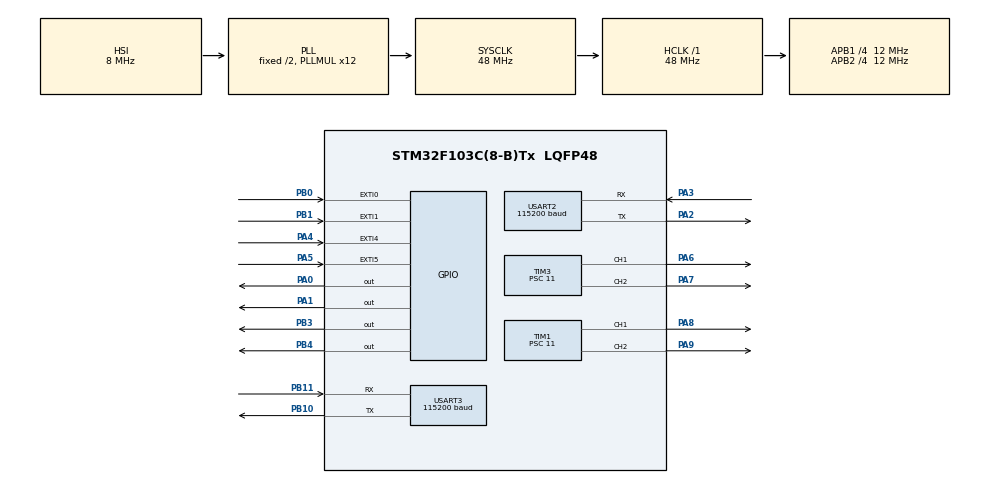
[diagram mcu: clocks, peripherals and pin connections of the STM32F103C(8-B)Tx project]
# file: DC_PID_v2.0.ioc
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Mcu.Family=STM32F1
Mcu.Name=STM32F103C(8-B)Tx
Mcu.Package=LQFP48
NVIC.EXTI0_IRQn=true\:0\:0\:false\:false\:true\:true\:true\:true
NVIC.EXTI1_IRQn=true\:0\:0\:false\:false\:true\:true\:true\:true
NVIC.EXTI4_IRQn=true\:0\:0\:false\:false\:true\:true\:true\:true
NVIC.EXTI9_5_IRQn=true\:0\:0\:false\:false\:true\:true\:true\:true
NVIC.PriorityGroup=NVIC_PRIORITYGROUP_4
NVIC.TIM2_IRQn=true\:0\:0\:false\:false\:true\:true\:true\:true
NVIC.TIM4_IRQn=true\:0\:0\:false\:false\:true\:true\:true\:true
NVIC.USART2_IRQn=true\:0\:0\:false\:false\:true\:true\:true\:true
NVIC.USART3_IRQn=true\:0\:0\:false\:false\:true\:true\:true\:true
PA0-WKUP.Signal=GPIO_Output
PA1.Signal=GPIO_Output
PA13.Mode=Serial_Wire
PA13.Signal=SYS_JTMS-SWDIO
PA14.Mode=Serial_Wire
PA14.Signal=SYS_JTCK-SWCLK
PA2.Mode=Asynchronous
PA2.Signal=USART2_TX
PA3.Mode=Asynchronous
PA3.Signal=USART2_RX
PA4.GPIO_ModeDefaultEXTI=GPIO_MODE_IT_RISING_FALLING
PA4.GPIO_PuPd=GPIO_PULLUP
PA4.Signal=GPXTI4
PA5.GPIO_ModeDefaultEXTI=GPIO_MODE_IT_RISING_FALLING
PA5.GPIO_PuPd=GPIO_PULLUP
PA5.Signal=GPXTI5
PA6.Signal=S_TIM3_CH1
PA7.Signal=S_TIM3_CH2
PA8.Signal=S_TIM1_CH1
PA9.Signal=S_TIM1_CH2
PB0.GPIO_ModeDefaultEXTI=GPIO_MODE_IT_RISING_FALLING
PB0.GPIO_PuPd=GPIO_PULLUP
PB0.Signal=GPXTI0
PB1.GPIO_ModeDefaultEXTI=GPIO_MODE_IT_RISING_FALLING
PB1.GPIO_PuPd=GPIO_PULLUP
PB1.Signal=GPXTI1
PB10.Mode=Asynchronous
PB10.Signal=USART3_TX
PB11.Mode=Asynchronous
PB11.Signal=USART3_RX
PB3.GPIO_PuPd=GPIO_NOPULL
PB3.Signal=GPIO_Output
PB4.Signal=GPIO_Output
PD0-OSC_IN.Mode=HSE-External-Oscillator
PD0-OSC_IN.Signal=RCC_OSC_IN
PD1-OSC_OUT.Mode=HSE-External-Oscillator
PD1-OSC_OUT.Signal=RCC_OSC_OUT
ProjectManager.HeapSize=0x200
ProjectManager.StackSize=0x400
ProjectManager.TargetToolchain=MDK-ARM V5.32
RCC.AHBFreq_Value=48000000
RCC.APB1CLKDivider=RCC_HCLK_DIV4
RCC.APB1Freq_Value=12000000
RCC.APB1TimFreq_Value=24000000
RCC.APB2CLKDivider=RCC_HCLK_DIV4
RCC.APB2Freq_Value=12000000
RCC.APB2TimFreq_Value=24000000
RCC.HCLKFreq_Value=48000000
RCC.PLLMUL=RCC_PLL_MUL12
RCC.SYSCLKFreq_VALUE=48000000
RCC.SYSCLKSource=RCC_SYSCLKSOURCE_PLLCLK
RCC.USBFreq_Value=48000000
SH.S_TIM1_CH1.0=TIM1_CH1,PWM Generation1 CH1
SH.S_TIM1_CH2.0=TIM1_CH2,PWM Generation2 CH2
SH.S_TIM3_CH1.0=TIM3_CH1,PWM Generation1 CH1
SH.S_TIM3_CH2.0=TIM3_CH2,PWM Generation2 CH2
TIM1.Channel-PWM\ Generation1\ CH1=TIM_CHANNEL_1
TIM1.Channel-PWM\ Generation2\ CH2=TIM_CHANNEL_2
TIM1.Period=100
TIM1.Prescaler=11
TIM2.Period=9
TIM2.Prescaler=23999
TIM3.Channel-PWM\ Generation1\ CH1=TIM_CHANNEL_1
TIM3.Channel-PWM\ Generation2\ CH2=TIM_CHANNEL_2
TIM3.Period=100
TIM3.Prescaler=11
TIM4.Period=9
TIM4.Prescaler=23999
USART2.BaudRate=115200
USART2.Mode=MODE_TX
USART2.VirtualMode=VM_ASYNC
USART3.BaudRate=115200
USART3.Mode=MODE_RX
USART3.VirtualMode=VM_ASYNC
VP_TIM1_VS_ClockSourceINT.Mode=Internal
VP_TIM2_VS_ClockSourceINT.Mode=Internal
VP_TIM3_VS_ClockSourceINT.Mode=Internal
VP_TIM4_VS_ClockSourceINT.Mode=Internal
board=custom

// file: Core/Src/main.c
/* USER CODE BEGIN Header */
/**
  ******************************************************************************
  * @file           : main.c
  * @brief          : Main program body
  ******************************************************************************
  * @attention
  *
  * Copyright (c) 2025 STMicroelectronics.
  * All rights reserved.
  *
  * This software is licensed under terms that can be found in the LICENSE file
  * in the root directory of this software component.
  * If no LICENSE file comes with this software, it is provided AS-IS.
  *
  ******************************************************************************
  */
/* USER CODE END Header */
#include "main.h"

/* USER CODE BEGIN Includes */
#include "string.h"
#include "stdio.h"
#include "stdlib.h"
#include "stdbool.h"
/* USER CODE END Includes */

/* USER CODE BEGIN PM */
#define pi 3.1415
#define p2r pi/400
#define sampletime 0.01
#define alpha 0.95
#define RX_BUFFER_SIZE 100
/* USER CODE END PM */

TIM_HandleTypeDef htim1;
TIM_HandleTypeDef htim2;
TIM_HandleTypeDef htim3;
TIM_HandleTypeDef htim4;

UART_HandleTypeDef huart2;
UART_HandleTypeDef huart3;

/* USER CODE BEGIN PV */
int32_t PosCnt_R, PosCnt_L, Cnttmp_R, Cnttmp_L;
volatile int16_t CountValue_R=0,CountValue_L=0;
int16_t HILIM =100 ,LOLIM =-100;
volatile int16_t CntVel_R, CntVel_L;
uint8_t PreviousState_R, PreviousState_L;
int16_t pwm_R, pwm_L ;
bool run=true, dir_R, dir_L;
float CurPos=0,DesiredPos;
float CurVel_R ;
float CurVel_L ;
int16_t DesiredSpeed_R, DesiredSpeed_L ;

volatile int32_t TotalCntVel_R = 0;
volatile int32_t TotalCntVel_L = 0;
volatile uint16_t uart_send_counter = 0;
//char Rx_indx, Rx_Buffer[20],Rx_data[2];
char dataVelocity_R[100], dataVelocity_L[100];

float Kp_R=0.2,Kd_R=0,Ki_R=5, Kb_R=100;
float Kp_L=0.2,Kd_L=0,Ki_L=5, Kb_L=100;

uint8_t Rx_Buffer[RX_BUFFER_SIZE];
uint8_t Rx_data[1];
uint8_t Rx_indx = 0;
/* USER CODE END PV */

void SystemClock_Config(void);
static void MX_GPIO_Init(void);
static void MX_TIM1_Init(void);
static void MX_TIM2_Init(void);
static void MX_TIM3_Init(void);
static void MX_TIM4_Init(void);
static void MX_USART3_UART_Init(void);
static void MX_USART2_UART_Init(void);

/* USER CODE BEGIN 0 */
//#ifdef __GNUC__
//	#define PUTCHAR_PROTOTYPE int __io_putchar(int ch)
//#else
//	#define PUTCHAR_PROTOTYPE int fputc(int ch, FILE *f)
//	#define GETCHAR_PROTOTYPE int fgetc(FILE *f)
//#endif
//	PUTCHAR_PROTOTYPE
//	{
//		HAL_UART_Transmit(&huart2, (uint8_t*)&ch,1,100);
//		return ch;
//	}

/*
***********************************************************************
******** Truyen van toc bang uart ***********************
***********************************************************************
*/

void parse_rpm_command() {
    if (Rx_Buffer[0] == 'V' && Rx_Buffer[1] == ',') {
        char *token;
        char *rest;
        rest = (char *)Rx_Buffer + 2;
        static char *saveptr;

        token = strtok(rest, ",");
        if (token != NULL) {
            DesiredSpeed_R = atoi(token);
        }

        token = strtok(NULL, ",");
        if (token != NULL) {
            DesiredSpeed_L = atoi(token);
        }
    }
}

void HAL_UART_RxCpltCallback(UART_HandleTypeDef *huart)
	{
    if (huart->Instance == USART3) {
        if (Rx_indx < RX_BUFFER_SIZE - 1) {
            Rx_Buffer[Rx_indx++] = Rx_data[0];
            if (Rx_indx == 9) {
                Rx_Buffer[Rx_indx] = '\0';

                parse_rpm_command();

                Rx_indx = 0;
            }
        } else {
            Rx_indx = 0;
        }
        HAL_UART_Receive_IT(&huart3, Rx_data, 1);
    }
	}

void tx_print(char *str)
{
		HAL_UART_Transmit(&huart2, (uint8_t*) str, strlen(str), 100);
}

/*
***********************************************************************
******** Xu ly tin hieu encoder cua banh xe phai***********************
***********************************************************************
*/

/****************************
****doc encoder channel A****
****************************/

void EXTI9_5_IRQHandler(void)
{
  /* USER CODE BEGIN EXTI9_5_IRQn 0 */
unsigned char State0;
	State0 = (State0<<1) | HAL_GPIO_ReadPin(GPIOA, GPIO_PIN_4);
	State0 = (State0<<1) | HAL_GPIO_ReadPin(GPIOA, GPIO_PIN_5);
	State0 = State0&0x03;
	switch (State0) {
		case 0:
			if(PreviousState_R==1) { CntVel_R++; TotalCntVel_R++;}
			else { CntVel_R--; TotalCntVel_R--;}
		break;
		case 1:
			if(PreviousState_R==3) { CntVel_R++; TotalCntVel_R++;}
			else {CntVel_R--; TotalCntVel_R--;}
		break;
		case 2:
			if(PreviousState_R==0) { CntVel_R++; TotalCntVel_R++;}
			else { CntVel_R--; TotalCntVel_R--;}
		break;
		case 3:
			if(PreviousState_R==2) { CntVel_R++; TotalCntVel_R++;}
			else { CntVel_R--; TotalCntVel_R--;}
		break;
		}
	PreviousState_R = State0;
//	if (CountValue_R>=1600) {
//		CountValue_R = 0;
//		PosCnt_R++;
//	}
//	else if	(CountValue_R<=-1600) {
//		CountValue_R = 0;
//		PosCnt_R--;
//	}
  /* USER CODE END EXTI9_5_IRQn 0 */
  HAL_GPIO_EXTI_IRQHandler(GPIO_PIN_5);
  /* USER CODE BEGIN EXTI9_5_IRQn 1 */
}

/****************************
****doc encoder channel B****
****************************/

void EXTI4_IRQHandler(void)
{
  /* USER CODE BEGIN EXTI4_IRQn 0 */
unsigned char State1;
	State1 = (State1<<1) | HAL_GPIO_ReadPin(GPIOA, GPIO_PIN_4);
	State1 = (State1<<1) | HAL_GPIO_ReadPin(GPIOA, GPIO_PIN_5);
	State1 = State1&0x03;
	switch (State1) {
		case 0:
			if(PreviousState_R==1) { CntVel_R++; TotalCntVel_R++;}
			else { CntVel_R--; TotalCntVel_R--;}
		break;
		case 1:
			if(PreviousState_R==3) { CntVel_R++; TotalCntVel_R++;}
			else { CntVel_R--; TotalCntVel_R--;}
		break;
		case 2:
			if(PreviousState_R==0) { CntVel_R++; TotalCntVel_R++;}
			else { CntVel_R--; TotalCntVel_R--;}
		break;
		case 3:
			if(PreviousState_R==2) { CntVel_R++; TotalCntVel_R++;}
			else { CntVel_R--; TotalCntVel_R--;}
		break;
		}
	PreviousState_R = State1;

//	if (CountValue_R>=1600) {
//		CountValue_R = 0;
//		PosCnt_R++;
//	}
//	else if	(CountValue_R<=-1600) {
//		CountValue_R = 0;
//		PosCnt_R--;
//	}
  /* USER CODE END EXTI4_IRQn 0 */
  HAL_GPIO_EXTI_IRQHandler(GPIO_PIN_4);
  /* USER CODE BEGIN EXTI4_IRQn 1 */

  /* USER CODE END EXTI4_IRQn 1 */
}

/*
***********************************************************************
******** Xu ly tin hieu encoder cua banh xe trai***********************
***********************************************************************
*/

/****************************
****doc encoder channel A****
****************************/

void EXTI1_IRQHandler(void)
{
  /* USER CODE BEGIN EXTI1_IRQn 0 */
unsigned char State3;
	State3 = (State3<<1) | HAL_GPIO_ReadPin(GPIOB, GPIO_PIN_0);
	State3 = (State3<<1) | HAL_GPIO_ReadPin(GPIOB, GPIO_PIN_1);
	State3 = State3&0x03;
	switch (State3) {
		case 0:
			if(PreviousState_L==1) { CntVel_L++; TotalCntVel_L++;}
			else { CntVel_L--; TotalCntVel_L--;}
		break;
		case 1:
			if(PreviousState_L==3) { CntVel_L++; TotalCntVel_L++;}
			else { CntVel_L--; TotalCntVel_L--;}
		break;
		case 2:
			if(PreviousState_L==0) { CntVel_L++; TotalCntVel_L++;}
			else { CntVel_L--; TotalCntVel_L--;}
		break;
		case 3:
			if(PreviousState_L==2) { CntVel_L++; TotalCntVel_L++;}
			else { CntVel_L--; TotalCntVel_L--;}
		break;
		}
	PreviousState_L = State3;

//	if (CountValue_L>=1600) {
//		CountValue_L = 0;
//		PosCnt_L++;
//	}
//	else if	(CountValue_L<=-1600) {
//		CountValue_L = 0;
//		PosCnt_L--;
//	}
  /* USER CODE END EXTI1_IRQn 0 */
  HAL_GPIO_EXTI_IRQHandler(GPIO_PIN_1);
  /* USER CODE BEGIN EXTI1_IRQn 0 */
}

/****************************
****doc encoder channel B****
****************************/

void EXTI0_IRQHandler(void)
{
  /* USER CODE BEGIN EXTI0_IRQn 0 */
unsigned char State4;
	State4 = (State4<<1) | HAL_GPIO_ReadPin(GPIOB, GPIO_PIN_0);
	State4 = (State4<<1) | HAL_GPIO_ReadPin(GPIOB, GPIO_PIN_1);
	State4 = State4&0x03;
	switch (State4) {
		case 0:
			if(PreviousState_L==1) { CntVel_L++; TotalCntVel_L++;}
			else { CntVel_L--; TotalCntVel_L--;}
		break;
		case 1:
			if(PreviousState_L==3) { CntVel_L++; TotalCntVel_L++;}
			else { CntVel_L--; TotalCntVel_L--;}
		break;
		case 2:
			if(PreviousState_L==0) { CntVel_L++; TotalCntVel_L++;}
			else { CntVel_L--; TotalCntVel_L--;}
		break;
		case 3:
			if(PreviousState_L==2) { CntVel_L++; TotalCntVel_L++;}
			else { CntVel_L--; TotalCntVel_L--;}
		break;
		}
	PreviousState_L = State4;

//	if (CountValue_L>=1600) {
//		CountValue_L = 0;
//		PosCnt_L++;
//	}
//	else if	(CountValue_L<=-1600) {
//		CountValue_L = 0;
//		PosCnt_L--;
//	}
  /* USER CODE END EXTI0_IRQn 0 */
  HAL_GPIO_EXTI_IRQHandler(GPIO_PIN_0);
  /* USER CODE BEGIN EXTI0_IRQn 0 */

  /* USER CODE END EXTI0_IRQn 0 */
}

/*
***********************************************************************
****************** Bo dieu khien PID cho van toc **********************
***********************************************************************
*/

int PIDVel_R(float Desiredvalue, float Currentvalue){

	static float errp = 0, e_reset = 0 ;
	static float uip = 0, ud_f_p = 0 ;
	float err,up,ud,ui, ud_f ;
	int uout , uout_anti_windup ;

	err = Desiredvalue - Currentvalue ;

	up = Kp_R*err ;
	ud = Kd_R*(err-errp)/sampletime ;
	ud_f = (1-alpha) * ud_f_p + alpha * ud;
	ui = uip + Ki_R*err*sampletime + Kb_R * sampletime * e_reset ;

	errp = err ;
	uip = ui ;
	ud_f_p = ud_f;
	uout =(int)(up+ud_f+ui);

	if(uout>HILIM) uout_anti_windup = 100 ;
	else if (uout < LOLIM)(uout_anti_windup = -100);
	else uout_anti_windup = uout;
	e_reset = uout_anti_windup - uout;
	return uout_anti_windup ;

}

int PIDVel_L(float Desiredvalue, float Currentvalue){

	static float errp = 0, e_reset = 0 ;
	static float uip = 0, ud_f_p = 0 ;
	float err,up,ud,ui, ud_f ;
	int uout , uout_anti_windup ;

	err = Desiredvalue - Currentvalue ;

	up = Kp_L*err ;
	ud = Kd_L*(err-errp)/sampletime ;
	ud_f = (1-alpha) * ud_f_p + alpha * ud;
	ui = uip + Ki_L*err*sampletime + Kb_L * sampletime * e_reset ;

	errp = err ;
	uip = ui ;
	ud_f_p = ud_f;
	uout =(int)(up+ud_f+ui);

	if(uout>HILIM) uout_anti_windup = 100 ;
	else if (uout < LOLIM)(uout_anti_windup = -100);
	else uout_anti_windup = uout;
	e_reset = uout_anti_windup - uout;
	return uout_anti_windup ;

}

/*
***********************************************************************
************ Xu ly ngat TIM de tinh toan van toc **********************
***********************************************************************
*/

void HAL_TIM_PeriodElapsedCallback(TIM_HandleTypeDef *htim) {

	if(htim->Instance==TIM2)
	{
		uart_send_counter++;
		if (uart_send_counter >= 10) {
				uart_send_counter = 0;
				char buffer[50];
				sprintf(buffer, "L:%d, R:%d\n", TotalCntVel_L, TotalCntVel_R);
				HAL_UART_Transmit_IT(&huart2, (uint8_t*)buffer, strlen(buffer));
//				HAL_UART_Transmit(&huart2, (uint8_t*) buffer, strlen(buffer), 1000);
//				tx_print(buffer);
		}

		Cnttmp_R = CntVel_R;
		CntVel_R = 0;
		CurVel_R = 9.549279*Cnttmp_R*pi/8;

    pwm_R = PIDVel_R(DesiredSpeed_R, CurVel_R);

		if (pwm_R >0)
			dir_R = 1 ;
		else {
		pwm_R *=-1;
		dir_R = 0 ; }

		if (dir_R==1){
				__HAL_TIM_SetCompare(&htim1, TIM_CHANNEL_1, pwm_R);
				__HAL_TIM_SetCompare(&htim1, TIM_CHANNEL_2, 0);
		}
		else {
				__HAL_TIM_SetCompare(&htim1, TIM_CHANNEL_1, 0);
				__HAL_TIM_SetCompare(&htim1, TIM_CHANNEL_2, pwm_R);
		}

		Cnttmp_L = CntVel_L;
		CntVel_L = 0;
		CurVel_L = 9.549279*Cnttmp_L*pi/8;

    pwm_L = PIDVel_L(DesiredSpeed_L, CurVel_L);

		if (pwm_L >0)
			dir_L = 1 ;
		else {
		pwm_L *=-1;
		dir_L = 0 ; }

		if (dir_L==1){
				__HAL_TIM_SetCompare(&htim3, TIM_CHANNEL_1, pwm_L);
				__HAL_TIM_SetCompare(&htim3, TIM_CHANNEL_2, 0);
		}
		else {
				__HAL_TIM_SetCompare(&htim3, TIM_CHANNEL_1, 0);
				__HAL_TIM_SetCompare(&htim3, TIM_CHANNEL_2, pwm_L);
		}
	}
}

void send_UART_Data(UART_HandleTypeDef *huart, uint32_t time_ms, int64_t desired_vel, float actual_vel) {
    char buffer[100]; // B? d?m d? ch?a chu?i d? li?u
    int len;

    // Р?nh d?ng chu?i: "Time: xxx ms, Encoder: xxx, RPM: xxx.xx\r\n"
    len = sprintf(buffer, "%lu,%lld,%.2f\r\n",
                  time_ms, desired_vel, actual_vel);

    // G?i d? li?u qua UART
    HAL_UART_Transmit(huart, (uint8_t *)buffer, len, HAL_MAX_DELAY);
}
/* USER CODE END 0 */

int main(void)
{

  /* MCU Configuration--------------------------------------------------------*/

  /* Reset of all peripherals, Initializes the Flash interface and the Systick. */
  HAL_Init();

  /* Configure the system clock */
  SystemClock_Config();

  /* Initialize all configured peripherals */
  MX_GPIO_Init();
  MX_TIM1_Init();
  MX_TIM2_Init();
  MX_TIM3_Init();
  MX_TIM4_Init();
  MX_USART3_UART_Init();
  MX_USART2_UART_Init();
  /* USER CODE BEGIN 2 */
	HAL_UART_Receive_IT(&huart3, Rx_data, 1);
	HAL_TIM_PWM_Start(&htim1, TIM_CHANNEL_1);
	HAL_TIM_PWM_Start(&htim1, TIM_CHANNEL_2);
	HAL_TIM_Base_Start_IT(&htim2);
	HAL_GPIO_WritePin(GPIOA, GPIO_PIN_1, GPIO_PIN_SET);
	HAL_GPIO_WritePin(GPIOA, GPIO_PIN_0, GPIO_PIN_SET);

	HAL_TIM_PWM_Start(&htim3, TIM_CHANNEL_1);
	HAL_TIM_PWM_Start(&htim3, TIM_CHANNEL_2);
//	HAL_TIM_Base_Start_IT(&htim4);
	HAL_GPIO_WritePin(GPIOB, GPIO_PIN_4, GPIO_PIN_SET);
	HAL_GPIO_WritePin(GPIOB, GPIO_PIN_3, GPIO_PIN_SET);

//	__HAL_TIM_SetCompare(&htim3, TIM_CHANNEL_1, 0);
//	__HAL_TIM_SetCompare(&htim3, TIM_CHANNEL_2, 50);
//
//	__HAL_TIM_SetCompare(&htim1, TIM_CHANNEL_1, 0);
//	__HAL_TIM_SetCompare(&htim1, TIM_CHANNEL_2, 50);

//	HAL_UART_Receive_IT(&huart1,(uint8_t*)Rx_data,1);
//	HAL_UART_Receive_IT(&huart1, Rx_data, 1);

  /* USER CODE END 2 */

  /* Infinite loop */
  while (1)
  {

    /* USER CODE BEGIN 3 */
		static uint32_t time_ms = 0;
//		sprintf(dataVelocity_R,"%f\r\n",CurVel_R);
//		tx_print(dataVelocity_R);
//		sprintf(dataVelocity_L,"%f\r\n",CurVel_L);
//		tx_print(dataVelocity_L);
		HAL_Delay(100);
		send_UART_Data(&huart2, time_ms, DesiredSpeed_L, CurVel_L); // G?i d? li?u qua UART
    time_ms += 100; // Tang th?i gian
  }
  /* USER CODE END 3 */
}

void SystemClock_Config(void)
{
  RCC_OscInitTypeDef RCC_OscInitStruct = {0};
  RCC_ClkInitTypeDef RCC_ClkInitStruct = {0};

  /** Initializes the RCC Oscillators according to the specified parameters
  * in the RCC_OscInitTypeDef structure.
  */
  RCC_OscInitStruct.OscillatorType = RCC_OSCILLATORTYPE_HSI;
  RCC_OscInitStruct.HSIState = RCC_HSI_ON;
  RCC_OscInitStruct.HSICalibrationValue = RCC_HSICALIBRATION_DEFAULT;
  RCC_OscInitStruct.PLL.PLLState = RCC_PLL_ON;
  RCC_OscInitStruct.PLL.PLLSource = RCC_PLLSOURCE_HSI_DIV2;
  RCC_OscInitStruct.PLL.PLLMUL = RCC_PLL_MUL12;
  if (HAL_RCC_OscConfig(&RCC_OscInitStruct) != HAL_OK)
  {
    Error_Handler();
  }

  /** Initializes the CPU, AHB and APB buses clocks
  */
  RCC_ClkInitStruct.ClockType = RCC_CLOCKTYPE_HCLK|RCC_CLOCKTYPE_SYSCLK
                              |RCC_CLOCKTYPE_PCLK1|RCC_CLOCKTYPE_PCLK2;
  RCC_ClkInitStruct.SYSCLKSource = RCC_SYSCLKSOURCE_PLLCLK;
  RCC_ClkInitStruct.AHBCLKDivider = RCC_SYSCLK_DIV1;
  RCC_ClkInitStruct.APB1CLKDivider = RCC_HCLK_DIV4;
  RCC_ClkInitStruct.APB2CLKDivider = RCC_HCLK_DIV4;

  if (HAL_RCC_ClockConfig(&RCC_ClkInitStruct, FLASH_LATENCY_1) != HAL_OK)
  {
    Error_Handler();
  }
}

static void MX_TIM1_Init(void)
{

  TIM_ClockConfigTypeDef sClockSourceConfig = {0};
  TIM_MasterConfigTypeDef sMasterConfig = {0};
  TIM_OC_InitTypeDef sConfigOC = {0};
  TIM_BreakDeadTimeConfigTypeDef sBreakDeadTimeConfig = {0};

  htim1.Instance = TIM1;
  htim1.Init.Prescaler = 11;
  htim1.Init.CounterMode = TIM_COUNTERMODE_UP;
  htim1.Init.Period = 100;
  htim1.Init.ClockDivision = TIM_CLOCKDIVISION_DIV1;
  htim1.Init.RepetitionCounter = 0;
  htim1.Init.AutoReloadPreload = TIM_AUTORELOAD_PRELOAD_DISABLE;
  if (HAL_TIM_Base_Init(&htim1) != HAL_OK)
  {
    Error_Handler();
  }
  sClockSourceConfig.ClockSource = TIM_CLOCKSOURCE_INTERNAL;
  if (HAL_TIM_ConfigClockSource(&htim1, &sClockSourceConfig) != HAL_OK)
  {
    Error_Handler();
  }
  if (HAL_TIM_PWM_Init(&htim1) != HAL_OK)
  {
    Error_Handler();
  }
  sMasterConfig.MasterOutputTrigger = TIM_TRGO_RESET;
  sMasterConfig.MasterSlaveMode = TIM_MASTERSLAVEMODE_DISABLE;
  if (HAL_TIMEx_MasterConfigSynchronization(&htim1, &sMasterConfig) != HAL_OK)
  {
    Error_Handler();
  }
  sConfigOC.OCMode = TIM_OCMODE_PWM1;
  sConfigOC.Pulse = 0;
  sConfigOC.OCPolarity = TIM_OCPOLARITY_HIGH;
  sConfigOC.OCNPolarity = TIM_OCNPOLARITY_HIGH;
  sConfigOC.OCFastMode = TIM_OCFAST_DISABLE;
  sConfigOC.OCIdleState = TIM_OCIDLESTATE_RESET;
  sConfigOC.OCNIdleState = TIM_OCNIDLESTATE_RESET;
  if (HAL_TIM_PWM_ConfigChannel(&htim1, &sConfigOC, TIM_CHANNEL_1) != HAL_OK)
  {
    Error_Handler();
  }
  if (HAL_TIM_PWM_ConfigChannel(&htim1, &sConfigOC, TIM_CHANNEL_2) != HAL_OK)
  {
    Error_Handler();
  }
  sBreakDeadTimeConfig.OffStateRunMode = TIM_OSSR_DISABLE;
  sBreakDeadTimeConfig.OffStateIDLEMode = TIM_OSSI_DISABLE;
  sBreakDeadTimeConfig.LockLevel = TIM_LOCKLEVEL_OFF;
  sBreakDeadTimeConfig.DeadTime = 0;
  sBreakDeadTimeConfig.BreakState = TIM_BREAK_DISABLE;
  sBreakDeadTimeConfig.BreakPolarity = TIM_BREAKPOLARITY_HIGH;
  sBreakDeadTimeConfig.AutomaticOutput = TIM_AUTOMATICOUTPUT_DISABLE;
  if (HAL_TIMEx_ConfigBreakDeadTime(&htim1, &sBreakDeadTimeConfig) != HAL_OK)
  {
    Error_Handler();
  }
  HAL_TIM_MspPostInit(&htim1);

}

static void MX_TIM2_Init(void)
{

  TIM_ClockConfigTypeDef sClockSourceConfig = {0};
  TIM_MasterConfigTypeDef sMasterConfig = {0};

  htim2.Instance = TIM2;
  htim2.Init.Prescaler = 23999;
  htim2.Init.CounterMode = TIM_COUNTERMODE_UP;
  htim2.Init.Period = 9;
  htim2.Init.ClockDivision = TIM_CLOCKDIVISION_DIV1;
  htim2.Init.AutoReloadPreload = TIM_AUTORELOAD_PRELOAD_DISABLE;
  if (HAL_TIM_Base_Init(&htim2) != HAL_OK)
  {
    Error_Handler();
  }
  sClockSourceConfig.ClockSource = TIM_CLOCKSOURCE_INTERNAL;
  if (HAL_TIM_ConfigClockSource(&htim2, &sClockSourceConfig) != HAL_OK)
  {
    Error_Handler();
  }
  sMasterConfig.MasterOutputTrigger = TIM_TRGO_RESET;
  sMasterConfig.MasterSlaveMode = TIM_MASTERSLAVEMODE_DISABLE;
  if (HAL_TIMEx_MasterConfigSynchronization(&htim2, &sMasterConfig) != HAL_OK)
  {
    Error_Handler();
  }

}

static void MX_TIM3_Init(void)
{

  TIM_ClockConfigTypeDef sClockSourceConfig = {0};
  TIM_MasterConfigTypeDef sMasterConfig = {0};
  TIM_OC_InitTypeDef sConfigOC = {0};

  htim3.Instance = TIM3;
  htim3.Init.Prescaler = 11;
  htim3.Init.CounterMode = TIM_COUNTERMODE_UP;
  htim3.Init.Period = 100;
  htim3.Init.ClockDivision = TIM_CLOCKDIVISION_DIV1;
  htim3.Init.AutoReloadPreload = TIM_AUTORELOAD_PRELOAD_DISABLE;
  if (HAL_TIM_Base_Init(&htim3) != HAL_OK)
  {
    Error_Handler();
  }
  sClockSourceConfig.ClockSource = TIM_CLOCKSOURCE_INTERNAL;
  if (HAL_TIM_ConfigClockSource(&htim3, &sClockSourceConfig) != HAL_OK)
  {
    Error_Handler();
  }
  if (HAL_TIM_PWM_Init(&htim3) != HAL_OK)
  {
    Error_Handler();
  }
  sMasterConfig.MasterOutputTrigger = TIM_TRGO_RESET;
  sMasterConfig.MasterSlaveMode = TIM_MASTERSLAVEMODE_DISABLE;
  if (HAL_TIMEx_MasterConfigSynchronization(&htim3, &sMasterConfig) != HAL_OK)
  {
    Error_Handler();
  }
  sConfigOC.OCMode = TIM_OCMODE_PWM1;
  sConfigOC.Pulse = 0;
  sConfigOC.OCPolarity = TIM_OCPOLARITY_HIGH;
  sConfigOC.OCFastMode = TIM_OCFAST_DISABLE;
  if (HAL_TIM_PWM_ConfigChannel(&htim3, &sConfigOC, TIM_CHANNEL_1) != HAL_OK)
  {
    Error_Handler();
  }
  if (HAL_TIM_PWM_ConfigChannel(&htim3, &sConfigOC, TIM_CHANNEL_2) != HAL_OK)
  {
    Error_Handler();
  }
  HAL_TIM_MspPostInit(&htim3);

}

static void MX_TIM4_Init(void)
{

  TIM_ClockConfigTypeDef sClockSourceConfig = {0};
  TIM_MasterConfigTypeDef sMasterConfig = {0};

  htim4.Instance = TIM4;
  htim4.Init.Prescaler = 23999;
  htim4.Init.CounterMode = TIM_COUNTERMODE_UP;
  htim4.Init.Period = 9;
  htim4.Init.ClockDivision = TIM_CLOCKDIVISION_DIV1;
  htim4.Init.AutoReloadPreload = TIM_AUTORELOAD_PRELOAD_DISABLE;
  if (HAL_TIM_Base_Init(&htim4) != HAL_OK)
  {
    Error_Handler();
  }
  sClockSourceConfig.ClockSource = TIM_CLOCKSOURCE_INTERNAL;
  if (HAL_TIM_ConfigClockSource(&htim4, &sClockSourceConfig) != HAL_OK)
  {
    Error_Handler();
  }
  sMasterConfig.MasterOutputTrigger = TIM_TRGO_RESET;
  sMasterConfig.MasterSlaveMode = TIM_MASTERSLAVEMODE_DISABLE;
  if (HAL_TIMEx_MasterConfigSynchronization(&htim4, &sMasterConfig) != HAL_OK)
  {
    Error_Handler();
  }

}

static void MX_USART2_UART_Init(void)
{

  huart2.Instance = USART2;
  huart2.Init.BaudRate = 115200;
  huart2.Init.WordLength = UART_WORDLENGTH_8B;
  huart2.Init.StopBits = UART_STOPBITS_1;
  huart2.Init.Parity = UART_PARITY_NONE;
  huart2.Init.Mode = UART_MODE_TX;
  huart2.Init.HwFlowCtl = UART_HWCONTROL_NONE;
  huart2.Init.OverSampling = UART_OVERSAMPLING_16;
  if (HAL_UART_Init(&huart2) != HAL_OK)
  {
    Error_Handler();
  }

}

static void MX_USART3_UART_Init(void)
{

  huart3.Instance = USART3;
  huart3.Init.BaudRate = 115200;
  huart3.Init.WordLength = UART_WORDLENGTH_8B;
  huart3.Init.StopBits = UART_STOPBITS_1;
  huart3.Init.Parity = UART_PARITY_NONE;
  huart3.Init.Mode = UART_MODE_RX;
  huart3.Init.HwFlowCtl = UART_HWCONTROL_NONE;
  huart3.Init.OverSampling = UART_OVERSAMPLING_16;
  if (HAL_UART_Init(&huart3) != HAL_OK)
  {
    Error_Handler();
  }

}

static void MX_GPIO_Init(void)
{
  GPIO_InitTypeDef GPIO_InitStruct = {0};

  /* GPIO Ports Clock Enable */
  __HAL_RCC_GPIOD_CLK_ENABLE();
  __HAL_RCC_GPIOA_CLK_ENABLE();
  __HAL_RCC_GPIOB_CLK_ENABLE();

  /*Configure GPIO pin Output Level */
  HAL_GPIO_WritePin(GPIOA, GPIO_PIN_0|GPIO_PIN_1, GPIO_PIN_RESET);

  /*Configure GPIO pin Output Level */
  HAL_GPIO_WritePin(GPIOB, GPIO_PIN_3|GPIO_PIN_4, GPIO_PIN_RESET);

  /*Configure GPIO pins : PA0 PA1 */
  GPIO_InitStruct.Pin = GPIO_PIN_0|GPIO_PIN_1;
  GPIO_InitStruct.Mode = GPIO_MODE_OUTPUT_PP;
  GPIO_InitStruct.Pull = GPIO_NOPULL;
  GPIO_InitStruct.Speed = GPIO_SPEED_FREQ_LOW;
  HAL_GPIO_Init(GPIOA, &GPIO_InitStruct);

  /*Configure GPIO pins : PA4 PA5 */
  GPIO_InitStruct.Pin = GPIO_PIN_4|GPIO_PIN_5;
  GPIO_InitStruct.Mode = GPIO_MODE_IT_RISING_FALLING;
  GPIO_InitStruct.Pull = GPIO_PULLUP;
  HAL_GPIO_Init(GPIOA, &GPIO_InitStruct);

  /*Configure GPIO pins : PB0 PB1 */
  GPIO_InitStruct.Pin = GPIO_PIN_0|GPIO_PIN_1;
  GPIO_InitStruct.Mode = GPIO_MODE_IT_RISING_FALLING;
  GPIO_InitStruct.Pull = GPIO_PULLUP;
  HAL_GPIO_Init(GPIOB, &GPIO_InitStruct);

  /*Configure GPIO pins : PB3 PB4 */
  GPIO_InitStruct.Pin = GPIO_PIN_3|GPIO_PIN_4;
  GPIO_InitStruct.Mode = GPIO_MODE_OUTPUT_PP;
  GPIO_InitStruct.Pull = GPIO_NOPULL;
  GPIO_InitStruct.Speed = GPIO_SPEED_FREQ_LOW;
  HAL_GPIO_Init(GPIOB, &GPIO_InitStruct);

  /* EXTI interrupt init*/
  HAL_NVIC_SetPriority(EXTI0_IRQn, 0, 0);
  HAL_NVIC_EnableIRQ(EXTI0_IRQn);

  HAL_NVIC_SetPriority(EXTI1_IRQn, 0, 0);
  HAL_NVIC_EnableIRQ(EXTI1_IRQn);

  HAL_NVIC_SetPriority(EXTI4_IRQn, 0, 0);
  HAL_NVIC_EnableIRQ(EXTI4_IRQn);

  HAL_NVIC_SetPriority(EXTI9_5_IRQn, 0, 0);
  HAL_NVIC_EnableIRQ(EXTI9_5_IRQn);

}

void Error_Handler(void)
{
  __disable_irq();
  while (1)
  {
  }
}
